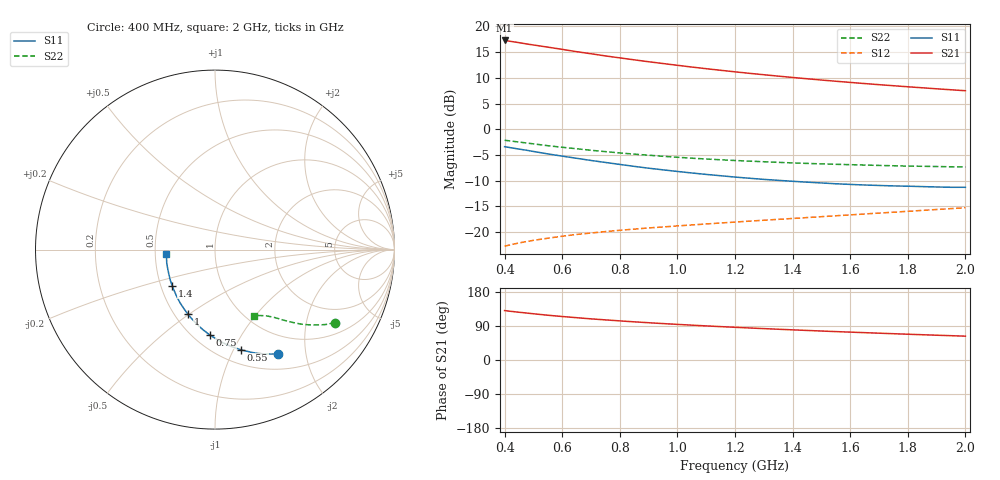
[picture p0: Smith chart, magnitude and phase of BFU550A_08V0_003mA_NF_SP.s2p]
! Filename:  P:\Prog\Test\Noise\ATS_data\Testdata_Net\06 Compressed Noise after Statistics\BFU550A_APG2013_35_C05_08p0V_003mA_NF_CM01_D.sf
! Date/Time: Tue 16/Apr/2013 15:11:31
! BFU550A_APG2013_35_C05_08p0V_1to35mA_NF_CM01_Bias3_R.sf
! Noise Parameter Data File
! BFU550A_APG2013_35_C05_08p0V_1to35mA_NF_CM01
! Date/time: Mon Apr 15 17:49:26 2013
! VAR V_out= 8.000000
! VAR I_out= 2.995000
! VAR V_in= 0.803700
! VAR I_in= 0.030310
! Device data file deembeded for feedlines and parallel
! Original file: \06 Compressed Noise after Statistics\BFU550A_APG2013_35_C05_08p0V_003mA_NF_CM01_R.sf
! Feed-files: PR017V01_150413_Feed1.s2p, PR017V01_150413_Feed2.s2p
! Parallel-file: PR017V01_150413_Par.s2p
# MHz S MA R 50
!  Freq-MHz  S11-mag  S11-arg  S21-mag  S21-arg  S12-mag  S12-arg  S22-mag  S22-arg
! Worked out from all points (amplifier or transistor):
!   37 points, 400 MHz to 2 GHz, reference 50 ohm
!   highest |S21| = 17.3 dB at 400 MHz (marker M1)
!   |S21| within 3 dB of that: start of sweep to 749.3 MHz
!   unconditionally stable (mu >= 1): 1.891 GHz to end of sweep
!   at 500 MHz: K = 0.44, MSG = 19.0 dB, |S12| = -21.6 dB
!   at 1.1 GHz: K = 0.80, MSG = 15.1 dB, |S12| = -18.4 dB
!   at 2 GHz: K = 1.01, MAG = 10.8 dB, |S12| = -15.3 dB
!   lowest NFmin = 0.53 dB at 420 MHz
!   S11 on the Smith chart (normalised r, x): 400 MHz: 0.71, -1.53; 550 MHz: 0.64, -1.07; 750 MHz: 0.60, -0.74; 1 GHz: 0.58, -0.49; 1.4 GHz: 0.57, -0.25; 2 GHz: 0.57, -0.03
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400  0.6773 -59.0  7.308 130.4  0.07301 60.5  0.7826 -31.3
420  0.6629 -61.4  7.169 128.6  0.07528 59.7  0.7699 -32.2
440  0.6489 -63.7  7.027 126.8  0.0774 59.0  0.7576 -33.1
480  0.6228 -68.1  6.732 123.6  0.08133 57.6  0.733 -34.8
550  0.5762 -75.6  6.292 118.2  0.08726 55.6  0.6924 -37.3
600  0.5481 -80.3  5.986 114.8  0.09118 54.6  0.6682 -38.8
650  0.5225 -84.9  5.685 111.6  0.09488 53.7  0.6464 -40.2
700  0.4975 -89.4  5.426 108.6  0.09804 53.0  0.6251 -41.4
750  0.4758 -93.6  5.17 105.9  0.1012 52.5  0.6063 -42.4
800  0.4553 -97.7  4.947 103.2  0.1042 52.2  0.5894 -43.4
850  0.436 -101.8  4.735 100.7  0.107 51.9  0.5731 -44.3
900  0.4185 -105.7  4.539 98.4  0.1098 51.7  0.56 -45.1
950  0.4032 -109.4  4.359 96.1  0.1123 51.7  0.546 -46.0
1000  0.389 -113.0  4.19 94.0  0.1149 51.6  0.5347 -46.6
1100  0.364 -120.2  3.883 90.0  0.12 51.9  0.5138 -48.0
1200  0.343 -127.0  3.621 86.3  0.1252 52.2  0.4971 -49.3
1300  0.3257 -133.4  3.392 82.8  0.1304 52.6  0.4835 -50.5
1400  0.312 -140.0  3.192 79.6  0.1358 53.1  0.4709 -51.8
1500  0.3007 -146.3  3.012 76.5  0.1413 53.7  0.4607 -53.1
1600  0.2911 -152.1  2.856 73.6  0.1471 54.3  0.4528 -54.4
1750  0.2815 -160.9  2.652 69.4  0.1562 55.2  0.4419 -56.3
2000  0.2728 -174.3  2.371 62.9  0.1727 56.4  0.43 -59.9
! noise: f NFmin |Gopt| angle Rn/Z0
400  0.5482  0.3861  23.08  0.1599
460  0.564  0.3714  27.6  0.1484
600  0.6156  0.3677  35.81  0.1539
800  0.6298  0.3317  50.66  0.1313
1000  0.6514  0.3264  64.42  0.1224
1200  0.7047  0.3006  79.59  0.113
1400  0.7562  0.2927  95.48  0.1032
1600  0.7846  0.2775  112.6  0.0871
1800  0.7147  0.3071  128.1  0.0721
2000  0.7228  0.2976  140.9  0.0737
